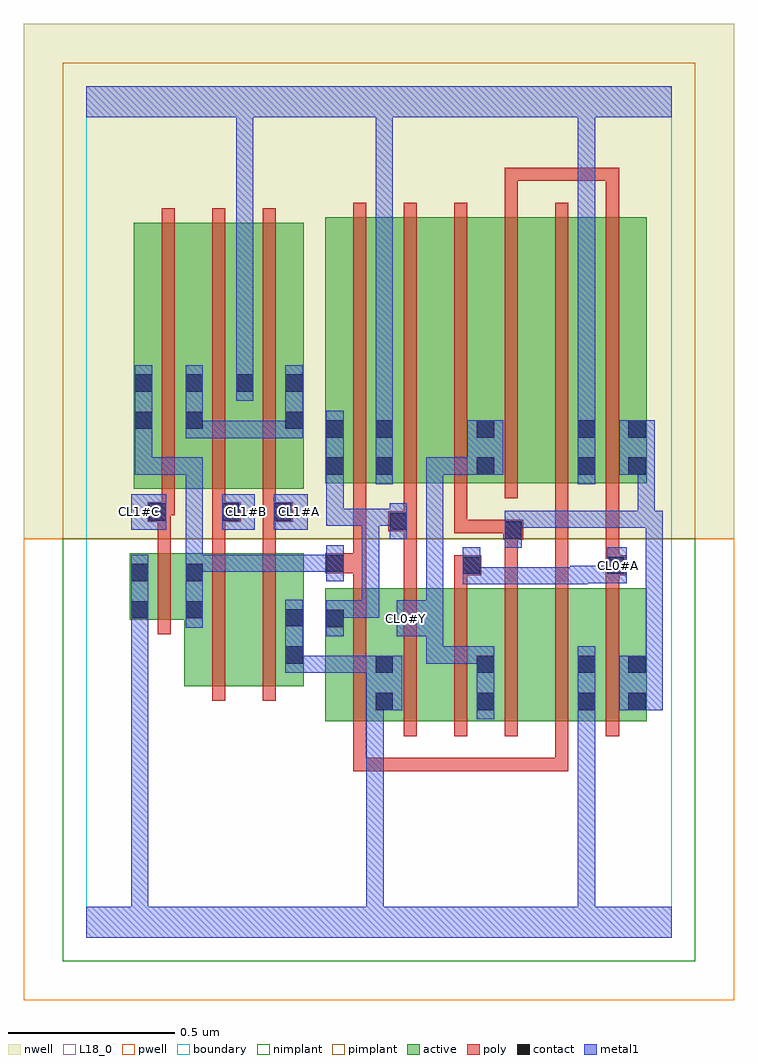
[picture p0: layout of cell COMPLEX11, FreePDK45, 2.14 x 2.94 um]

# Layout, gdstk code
import gdstk
lib = gdstk.Library(unit=1e-6, precision=1e-09)
def R(c, l, rs):  # rectangles x0, y0, x1, y1
    for r in rs: c.add(gdstk.rectangle(r[:2], r[2:], *l))
def A(c, l, x, y, w, h, nx, ny, dx, dy):  # array of equal rectangles
    R(c, l, [(x+i*dx, y+j*dy, x+i*dx+w, y+j*dy+h) for i in range(nx) for j in range(ny)])
active = (1, 0)
pwell = (2, 0)
nwell = (3, 0)
nimplant = (4, 0)
pimplant = (5, 0)
poly = (9, 0)
contact = (10, 0)
metal1 = (11, 0)
L18_0 = (18, 0)
boundary = (235, 0)

complex11 = lib.new_cell('COMPLEX11')
A(complex11, active, 0.866, 0.65, 0.06, 0.4, 3, 1, 0.304, 0)
A(complex11, active, 0.866, 1.366, 0.06, 0.678, 3, 1, 0.304, 0)
R(complex11, active, [(0.718,0.65,0.926,1.05), (0.866,0.65,1.05,1.05), (1.05,0.65,1.23,1.05), (1.17,0.65,1.354,1.05), (1.354,0.65,1.534,1.05), (1.474,0.65,1.686,1.05), (1.626,0.65,1.686,1.05), (0.294,0.756,0.354,1.156), (0.294,0.756,0.474,1.156), (0.474,0.756,0.654,1.156), (0.594,0.756,0.654,1.156), (0.718,0.756,0.778,1.05), (0.13,0.956,0.354,1.156), (0.13,0.956,0.19,1.156), (0.142,1.35,0.354,2.15), (0.142,1.35,0.202,2.15), (0.294,1.35,0.506,2.15), (0.294,1.35,0.354,2.15), (0.446,1.35,0.654,2.15), (0.594,1.35,0.654,2.15), (0.718,1.366,0.778,2.044), (0.718,1.366,0.926,2.166), (0.866,1.366,1.05,2.166), (1.05,1.366,1.23,2.166), (1.17,1.366,1.354,2.166), (1.354,1.366,1.534,2.166), (1.474,1.366,1.686,2.166), (1.626,1.366,1.686,2.044), (0.446,1.426,0.506,2.15)])
R(complex11, pwell, [(-0.188,-0.188,1.948,1.2)])
R(complex11, nwell, [(-0.188,1.2,1.948,2.748)])
R(complex11, nimplant, [(-0.072,-0.072,1.832,1.2)])
R(complex11, pimplant, [(-0.072,1.2,1.832,2.632)])
A(complex11, poly, 0.802, 0.606, 0.04, 0.488, 6, 1, 0.152, 0)
A(complex11, poly, 0.226, 1.27, 0.04, 0.076, 3, 1, 0.152, 0)
A(complex11, poly, 0.226, 1.306, 0.04, 0.888, 3, 1, 0.152, 0)
A(complex11, poly, 0.802, 1.322, 0.04, 0.888, 6, 1, 0.152, 0)
R(complex11, poly, [(0.802,0.5,0.842,0.646), (0.802,0.5,0.842,0.54), (0.802,0.5,0.842,0.54), (0.802,0.5,0.842,0.54), (0.802,0.5,0.948,0.54), (0.908,0.5,0.948,0.54), (0.908,0.5,0.948,0.54), (0.908,0.5,0.948,0.54), (0.908,0.5,1.1,0.54), (1.06,0.5,1.1,0.54), (1.06,0.5,1.1,0.54), (1.06,0.5,1.1,0.54), (1.06,0.5,1.252,0.54), (1.212,0.5,1.252,0.54), (1.212,0.5,1.45,0.54), (1.41,0.5,1.45,0.646), (1.41,0.5,1.45,0.54), (1.41,0.5,1.45,0.54), (1.41,0.5,1.45,0.54), (0.378,0.712,0.418,1.2), (0.53,0.712,0.57,1.2), (0.214,0.912,0.254,1.2), (0.802,1.054,0.842,1.136), (0.954,1.054,0.994,1.262), (1.106,1.054,1.146,1.13), (1.258,1.054,1.298,1.236), (1.41,1.054,1.45,1.13), (1.562,1.054,1.602,1.13), (1.106,1.09,1.188,1.15), (1.41,1.09,1.45,1.13), (1.41,1.09,1.45,1.13), (1.41,1.09,1.45,1.13), (1.41,1.09,1.45,1.362), (1.562,1.09,1.622,1.15), (0.718,1.096,0.842,1.156), (1.562,1.11,1.602,1.15), (1.562,1.11,1.602,1.15), (1.562,1.11,1.602,1.362), (0.802,1.116,0.842,1.156), (0.802,1.116,0.842,1.156), (0.802,1.116,0.842,1.362), (0.214,1.16,0.254,1.29), (0.378,1.16,0.418,1.29), (0.53,1.16,0.57,1.29), (1.254,1.196,1.314,1.256), (1.258,1.196,1.298,1.236), (1.258,1.196,1.298,1.236), (1.106,1.216,1.146,1.362), (1.106,1.216,1.146,1.256), (1.106,1.216,1.146,1.256), (1.106,1.216,1.146,1.256), (1.106,1.216,1.294,1.256), (0.908,1.222,0.994,1.282), (0.954,1.222,0.994,1.262), (0.954,1.222,0.994,1.262), (0.954,1.242,0.994,1.362), (0.184,1.25,0.254,1.31), (0.378,1.25,0.418,1.29), (0.378,1.25,0.418,1.29), (0.378,1.25,0.464,1.31), (0.53,1.25,0.57,1.29), (0.53,1.25,0.57,1.29), (0.53,1.25,0.62,1.31), (0.214,1.27,0.254,1.31), (0.214,1.27,0.266,1.31), (1.258,2.17,1.298,2.316), (1.562,2.17,1.602,2.316), (1.258,2.276,1.298,2.316), (1.258,2.276,1.404,2.316), (1.364,2.276,1.404,2.316), (1.364,2.276,1.404,2.316), (1.364,2.276,1.404,2.316), (1.364,2.276,1.602,2.316), (1.562,2.276,1.602,2.316), (1.562,2.276,1.602,2.316), (1.562,2.276,1.602,2.316)])
A(complex11, contact, 0.87, 0.684, 0.052, 0.052, 3, 2, 0.304, 0.112)
A(complex11, contact, 0.87, 1.392, 0.052, 0.052, 3, 2, 0.304, 0.112)
A(complex11, contact, 0.146, 1.642, 0.052, 0.052, 3, 1, 0.152, 0)
R(complex11, contact, [(1.63,0.684,1.682,0.736), (1.63,0.796,1.682,0.848), (0.598,0.824,0.65,0.876), (0.722,0.934,0.774,0.986), (0.598,0.936,0.65,0.988), (0.134,0.96,0.186,1.012), (0.298,0.96,0.35,1.012), (0.134,1.072,0.186,1.124), (0.298,1.072,0.35,1.124), (1.132,1.094,1.184,1.146), (1.566,1.094,1.618,1.146), (0.722,1.1,0.774,1.152), (1.258,1.2,1.31,1.252), (0.912,1.226,0.964,1.278), (0.188,1.254,0.24,1.306), (0.408,1.254,0.46,1.306), (0.564,1.254,0.616,1.306), (0.722,1.392,0.774,1.444), (1.63,1.392,1.682,1.444), (0.722,1.504,0.774,1.556), (1.63,1.504,1.682,1.556), (0.146,1.53,0.198,1.582), (0.298,1.53,0.35,1.582), (0.598,1.53,0.65,1.582), (0.598,1.642,0.65,1.694)])
R(complex11, metal1, [(0,0,1.76,0.092), (0.134,0.04,0.186,0.092), (0.134,0.04,0.186,0.092), (0.134,0.04,0.186,0.092), (0.134,0.04,0.186,0.092), (0.134,0.04,0.186,0.092), (0.134,0.04,0.186,0.092), (0.134,0.04,0.186,0.092), (0.134,0.04,0.186,0.092), (0.134,0.04,0.186,0.092), (0.134,0.04,0.186,0.092), (0.134,0.04,0.186,0.092), (0.134,0.04,0.186,0.092), (0.134,0.04,0.186,0.984), (0.842,0.04,0.894,0.092), (0.842,0.04,0.894,0.092), (0.842,0.04,0.894,0.092), (0.842,0.04,0.894,0.092), (0.842,0.04,0.894,0.092), (0.842,0.04,0.894,0.092), (0.842,0.04,0.894,0.092), (0.842,0.04,0.894,0.092), (0.842,0.04,0.894,0.092), (0.842,0.04,0.894,0.092), (0.842,0.04,0.894,0.736), (1.478,0.04,1.53,0.092), (1.478,0.04,1.53,0.092), (1.478,0.04,1.53,0.092), (1.478,0.04,1.53,0.092), (1.478,0.04,1.53,0.092), (1.478,0.04,1.53,0.092), (1.478,0.04,1.53,0.092), (1.478,0.04,1.53,0.092), (1.478,0.04,1.53,0.092), (1.478,0.04,1.53,0.092), (1.478,0.04,1.53,0.092), (1.478,0.04,1.53,0.092), (1.478,0.04,1.53,0.708), (1.174,0.656,1.226,0.876), (1.478,0.656,1.53,0.876), (0.842,0.684,0.95,0.848), (0.842,0.684,0.894,0.736), (0.842,0.684,0.894,0.736), (1.602,0.684,1.734,0.848), (0.598,0.796,0.65,0.848), (0.598,0.796,0.65,0.848), (0.598,0.796,0.65,1.016), (0.598,0.796,0.776,0.848), (0.724,0.796,0.776,0.848), (0.724,0.796,0.894,0.848), (1.682,0.796,1.734,1.284), (1.022,0.824,1.074,0.876), (1.022,0.824,1.074,0.876), (1.022,0.824,1.074,0.876), (1.022,0.824,1.226,0.876), (1.022,0.824,1.074,0.958), (0.722,0.906,0.774,1.014), (0.934,0.906,1.074,1.014), (0.134,0.932,0.186,0.984), (0.134,0.932,0.186,0.984), (0.134,0.932,0.186,0.984), (0.134,0.932,0.186,0.984), (0.134,0.932,0.186,1.152), (0.298,0.932,0.35,1.152), (0.722,0.962,0.776,1.014), (0.724,0.962,0.776,1.014), (0.724,0.962,0.88,1.014), (0.828,0.962,0.88,1.014), (0.828,0.962,0.88,1.29), (1.022,0.962,1.074,1.444), (1.132,1.062,1.184,1.118), (1.132,1.062,1.31,1.114), (1.258,1.062,1.31,1.114), (1.258,1.062,1.31,1.114), (1.258,1.062,1.31,1.114), (1.258,1.062,1.508,1.114), (1.456,1.062,1.508,1.118), (1.132,1.066,1.184,1.118), (1.132,1.066,1.184,1.174), (1.456,1.066,1.508,1.118), (1.456,1.066,1.508,1.118), (1.456,1.066,1.618,1.118), (1.566,1.066,1.626,1.174), (0.722,1.072,0.774,1.18), (0.298,1.1,0.35,1.152), (0.298,1.1,0.35,1.152), (0.298,1.1,0.35,1.152), (0.298,1.1,0.35,1.152), (0.298,1.1,0.46,1.152), (0.298,1.1,0.35,1.444), (0.408,1.1,0.46,1.152), (0.408,1.1,0.46,1.152), (0.408,1.1,0.46,1.152), (0.408,1.1,0.664,1.152), (0.612,1.1,0.664,1.152), (0.612,1.1,0.664,1.152), (0.612,1.1,0.664,1.152), (0.612,1.1,0.774,1.152), (1.258,1.172,1.31,1.28), (0.912,1.198,0.964,1.306), (0.134,1.226,0.24,1.334), (0.408,1.226,0.506,1.334), (0.564,1.226,0.666,1.334), (1.258,1.228,1.31,1.28), (1.258,1.228,1.31,1.284), (1.258,1.232,1.42,1.284), (1.368,1.232,1.42,1.284), (1.368,1.232,1.42,1.284), (1.368,1.232,1.42,1.284), (1.368,1.232,1.71,1.284), (1.658,1.232,1.71,1.444), (1.658,1.232,1.71,1.284), (1.658,1.232,1.71,1.284), (1.658,1.232,1.734,1.284), (1.682,1.232,1.734,1.284), (1.682,1.232,1.734,1.284), (0.722,1.238,0.774,1.29), (0.722,1.238,0.776,1.29), (0.722,1.238,0.774,1.416), (0.724,1.238,0.776,1.29), (0.724,1.238,0.88,1.29), (0.828,1.238,0.88,1.29), (0.828,1.238,0.88,1.29), (0.828,1.238,0.88,1.29), (0.828,1.238,0.964,1.29), (0.722,1.364,0.774,1.584), (0.87,1.364,0.922,1.584), (1.478,1.364,1.53,1.584), (0.146,1.392,0.198,1.444), (0.146,1.392,0.198,1.444), (0.146,1.392,0.198,1.444), (0.146,1.392,0.35,1.444), (0.146,1.392,0.198,1.554), (0.298,1.392,0.35,1.444), (1.022,1.392,1.074,1.444), (1.022,1.392,1.074,1.444), (1.022,1.392,1.074,1.444), (1.022,1.392,1.074,1.444), (1.022,1.392,1.074,1.444), (1.022,1.392,1.198,1.444), (1.146,1.392,1.254,1.556), (1.602,1.392,1.71,1.556), (0.146,1.502,0.198,1.722), (0.298,1.502,0.35,1.554), (0.298,1.502,0.35,1.554), (0.298,1.502,0.35,1.722), (0.298,1.502,0.476,1.554), (0.424,1.502,0.476,1.554), (0.424,1.502,0.476,1.554), (0.424,1.502,0.476,1.554), (0.424,1.502,0.65,1.554), (0.598,1.502,0.65,1.722), (0.87,1.532,0.922,1.584), (0.87,1.532,0.922,1.584), (0.87,1.532,0.922,1.584), (0.87,1.532,0.922,1.584), (0.87,1.532,0.922,2.52), (1.478,1.532,1.53,1.584), (1.478,1.532,1.53,1.584), (1.478,1.532,1.53,2.52), (0.45,1.614,0.502,1.722), (0.45,1.67,0.502,1.722), (0.45,1.67,0.502,1.722), (0.45,1.67,0.502,1.722), (0.45,1.67,0.502,1.722), (0.45,1.67,0.502,1.722), (0.45,1.67,0.502,1.722), (0.45,1.67,0.502,2.52), (0,2.468,1.76,2.56), (0.45,2.468,0.502,2.52), (0.45,2.468,0.502,2.52), (0.87,2.468,0.922,2.52), (0.87,2.468,0.922,2.52), (0.87,2.468,0.922,2.52), (0.87,2.468,0.922,2.52), (1.478,2.468,1.53,2.52), (1.478,2.468,1.53,2.52), (1.478,2.468,1.53,2.52), (1.478,2.468,1.53,2.52), (1.478,2.468,1.53,2.52), (1.478,2.468,1.53,2.52)])
R(complex11, L18_0, [(0,0,1.76,0.092), (0.134,0.04,0.186,0.092), (0.134,0.04,0.186,0.092), (0.134,0.04,0.186,0.092), (0.134,0.04,0.186,0.092), (0.134,0.04,0.186,0.092), (0.134,0.04,0.186,0.092), (0.134,0.04,0.186,0.092), (0.134,0.04,0.186,0.092), (0.134,0.04,0.186,0.092), (0.134,0.04,0.186,0.092), (0.134,0.04,0.186,0.092), (0.134,0.04,0.186,0.092), (0.134,0.04,0.186,0.984), (0.842,0.04,0.894,0.092), (0.842,0.04,0.894,0.092), (0.842,0.04,0.894,0.092), (0.842,0.04,0.894,0.092), (0.842,0.04,0.894,0.092), (0.842,0.04,0.894,0.092), (0.842,0.04,0.894,0.092), (0.842,0.04,0.894,0.092), (0.842,0.04,0.894,0.092), (0.842,0.04,0.894,0.092), (0.842,0.04,0.894,0.736), (1.478,0.04,1.53,0.092), (1.478,0.04,1.53,0.092), (1.478,0.04,1.53,0.092), (1.478,0.04,1.53,0.092), (1.478,0.04,1.53,0.092), (1.478,0.04,1.53,0.092), (1.478,0.04,1.53,0.092), (1.478,0.04,1.53,0.092), (1.478,0.04,1.53,0.092), (1.478,0.04,1.53,0.092), (1.478,0.04,1.53,0.092), (1.478,0.04,1.53,0.092), (1.478,0.04,1.53,0.708), (1.174,0.656,1.226,0.876), (1.478,0.656,1.53,0.876), (0.842,0.684,0.894,0.736), (0.842,0.684,0.894,0.736), (0.842,0.684,0.95,0.848), (0.598,0.796,0.65,0.848), (0.598,0.796,0.65,0.848), (0.598,0.796,0.65,1.016), (0.598,0.796,0.776,0.848), (0.724,0.796,0.776,0.848), (0.724,0.796,0.894,0.848), (1.022,0.824,1.074,0.876), (1.022,0.824,1.074,0.876), (1.022,0.824,1.074,0.876), (1.022,0.824,1.074,0.958), (1.022,0.824,1.226,0.876), (0.934,0.906,1.074,1.014), (0.134,0.932,0.186,0.984), (0.134,0.932,0.186,0.984), (0.134,0.932,0.186,0.984), (0.134,0.932,0.186,0.984), (0.134,0.932,0.186,1.152), (0.934,0.934,0.986,0.986), (1.022,0.962,1.074,1.444), (1.132,1.062,1.31,1.114), (1.132,1.062,1.184,1.118), (1.258,1.062,1.31,1.114), (1.258,1.062,1.31,1.114), (1.258,1.062,1.31,1.114), (1.258,1.062,1.508,1.114), (1.456,1.062,1.508,1.118), (1.132,1.066,1.184,1.118), (1.132,1.066,1.184,1.174), (1.456,1.066,1.508,1.118), (1.456,1.066,1.508,1.118), (1.456,1.066,1.618,1.118), (1.566,1.066,1.626,1.174), (1.574,1.094,1.626,1.146), (0.134,1.226,0.24,1.334), (0.408,1.226,0.506,1.334), (0.564,1.226,0.666,1.334), (0.134,1.254,0.186,1.306), (0.454,1.254,0.506,1.306), (0.614,1.254,0.666,1.306), (0.87,1.364,0.922,1.584), (1.478,1.364,1.53,1.584), (1.022,1.392,1.074,1.444), (1.022,1.392,1.074,1.444), (1.022,1.392,1.074,1.444), (1.022,1.392,1.074,1.444), (1.022,1.392,1.074,1.444), (1.022,1.392,1.198,1.444), (1.146,1.392,1.254,1.556), (0.87,1.532,0.922,1.584), (0.87,1.532,0.922,1.584), (0.87,1.532,0.922,1.584), (0.87,1.532,0.922,1.584), (0.87,1.532,0.922,2.52), (1.478,1.532,1.53,1.584), (1.478,1.532,1.53,1.584), (1.478,1.532,1.53,2.52), (0.45,1.614,0.502,1.722), (0.45,1.67,0.502,1.722), (0.45,1.67,0.502,1.722), (0.45,1.67,0.502,1.722), (0.45,1.67,0.502,1.722), (0.45,1.67,0.502,1.722), (0.45,1.67,0.502,1.722), (0.45,1.67,0.502,2.52), (0,2.468,1.76,2.56), (0.45,2.468,0.502,2.52), (0.45,2.468,0.502,2.52), (0.87,2.468,0.922,2.52), (0.87,2.468,0.922,2.52), (0.87,2.468,0.922,2.52), (0.87,2.468,0.922,2.52), (1.478,2.468,1.53,2.52), (1.478,2.468,1.53,2.52), (1.478,2.468,1.53,2.52), (1.478,2.468,1.53,2.52), (1.478,2.468,1.53,2.52), (1.478,2.468,1.53,2.52)])
R(complex11, boundary, [(0,0,1.76,2.56)])
complex11.add(gdstk.Label('CL0#A', (1.6,1.12), layer=11, texttype=0))
complex11.add(gdstk.Label('CL0#Y', (0.96,0.96), layer=11, texttype=0))
complex11.add(gdstk.Label('CL1#A', (0.64,1.28), layer=11, texttype=0))
complex11.add(gdstk.Label('CL1#B', (0.48,1.28), layer=11, texttype=0))
complex11.add(gdstk.Label('CL1#C', (0.16,1.28), layer=11, texttype=0))

lib.write_gds('COMPLEX11.gds')
